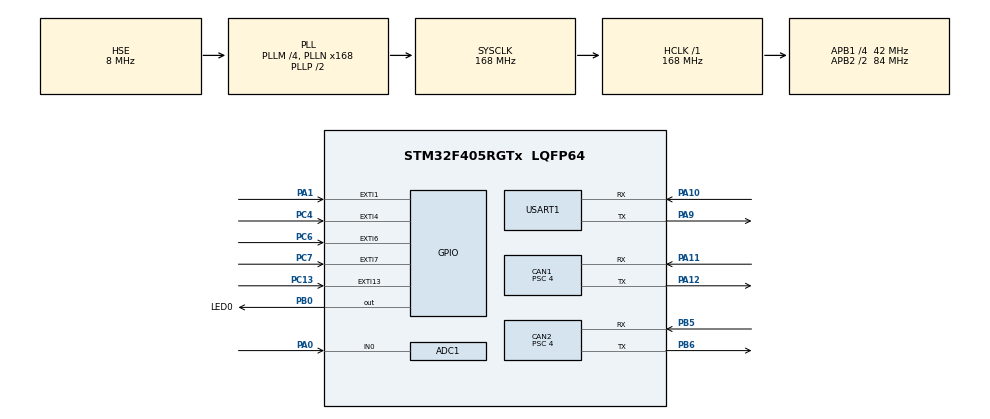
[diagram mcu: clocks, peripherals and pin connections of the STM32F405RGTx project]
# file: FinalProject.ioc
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ADC1.Channel-1\#ChannelRegularConversion=ADC_CHANNEL_0
ADC1.ContinuousConvMode=DISABLE
ADC1.NbrOfConversion=1
ADC1.NbrOfConversionFlag=1
ADC1.Rank-1\#ChannelRegularConversion=1
ADC1.SamplingTime-1\#ChannelRegularConversion=ADC_SAMPLETIME_3CYCLES
ADC1.master=1
CAN1.ABOM=ENABLE
CAN1.AWUM=ENABLE
CAN1.BS1=CAN_BS1_16TQ
CAN1.BS2=CAN_BS2_4TQ
CAN1.CalculateBaudRate=500000
CAN1.CalculateTimeBit=2000
CAN1.CalculateTimeQuantum=95.23809523809524
CAN1.Prescaler=4
CAN1.SJW=CAN_SJW_2TQ
CAN2.ABOM=ENABLE
CAN2.AWUM=ENABLE
CAN2.BS1=CAN_BS1_16TQ
CAN2.BS2=CAN_BS2_4TQ
CAN2.CalculateBaudRate=500000
CAN2.CalculateTimeBit=2000
CAN2.CalculateTimeQuantum=95.23809523809524
CAN2.Prescaler=4
Mcu.Family=STM32F4
Mcu.Name=STM32F405RGTx
Mcu.Package=LQFP64
NVIC.CAN1_RX0_IRQn=true\:3\:0\:true\:false\:true\:true\:true\:true
NVIC.CAN2_RX1_IRQn=true\:3\:0\:true\:false\:true\:true\:true\:true
NVIC.EXTI15_10_IRQn=true\:2\:0\:true\:false\:true\:true\:true\:true
NVIC.EXTI1_IRQn=true\:2\:0\:true\:false\:true\:true\:true\:true
NVIC.EXTI4_IRQn=true\:2\:0\:true\:false\:true\:true\:true\:true
NVIC.EXTI9_5_IRQn=true\:2\:0\:true\:false\:true\:true\:true\:true
NVIC.PriorityGroup=NVIC_PRIORITYGROUP_4
PA0-WKUP.Signal=ADCx_IN0
PA1.GPIO_PuPd=GPIO_PULLUP
PA1.Signal=GPXTI1
PA10.Mode=Asynchronous
PA10.Signal=USART1_RX
PA11.Mode=CAN_Activate
PA11.Signal=CAN1_RX
PA12.Mode=CAN_Activate
PA12.Signal=CAN1_TX
PA9.Mode=Asynchronous
PA9.Signal=USART1_TX
PB0.GPIO_Label=LED0
PB0.Signal=GPIO_Output
PB5.Mode=CAN_Activate
PB5.Signal=CAN2_RX
PB6.Mode=CAN_Activate
PB6.Signal=CAN2_TX
PC13-ANTI_TAMP.GPIO_ModeDefaultEXTI=GPIO_MODE_IT_FALLING
PC13-ANTI_TAMP.GPIO_PuPd=GPIO_PULLUP
PC13-ANTI_TAMP.Signal=GPXTI13
PC4.GPIO_ModeDefaultEXTI=GPIO_MODE_IT_FALLING
PC4.GPIO_PuPd=GPIO_PULLUP
PC4.Signal=GPXTI4
PC6.GPIO_PuPd=GPIO_PULLUP
PC6.Signal=GPXTI6
PC7.GPIO_ModeDefaultEXTI=GPIO_MODE_IT_FALLING
PC7.GPIO_PuPd=GPIO_PULLUP
PC7.Signal=GPXTI7
PH0-OSC_IN.Mode=HSE-External-Oscillator
PH0-OSC_IN.Signal=RCC_OSC_IN
PH1-OSC_OUT.Mode=HSE-External-Oscillator
PH1-OSC_OUT.Signal=RCC_OSC_OUT
ProjectManager.HeapSize=0x200
ProjectManager.StackSize=0x400
ProjectManager.TargetToolchain=STM32CubeIDE
RCC.48MHZClocksFreq_Value=84000000
RCC.AHBFreq_Value=168000000
RCC.APB1CLKDivider=RCC_HCLK_DIV4
RCC.APB1Freq_Value=42000000
RCC.APB1TimFreq_Value=84000000
RCC.APB2CLKDivider=RCC_HCLK_DIV2
RCC.APB2Freq_Value=84000000
RCC.APB2TimFreq_Value=168000000
RCC.CortexFreq_Value=168000000
RCC.HCLKFreq_Value=168000000
RCC.HSE_VALUE=8000000
RCC.HSI_VALUE=16000000
RCC.LSE_VALUE=32768
RCC.PLLM=4
RCC.PLLN=168
RCC.PLLSourceVirtual=RCC_PLLSOURCE_HSE
RCC.SYSCLKFreq_VALUE=168000000
RCC.SYSCLKSource=RCC_SYSCLKSOURCE_PLLCLK
RCC.VCOOutputFreq_Value=336000000
SH.ADCx_IN0.0=ADC1_IN0,IN0
USART1.VirtualMode=VM_ASYNC
board=custom

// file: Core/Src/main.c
/* USER CODE BEGIN Header */
/**
  ******************************************************************************
  * @file           : main.c
  * @brief          : Main program body
  ******************************************************************************
  * @attention
  *
  * Copyright (c) 2022 STMicroelectronics.
  * All rights reserved.
  *
  * This software is licensed under terms that can be found in the LICENSE file
  * in the root directory of this software component.
  * If no LICENSE file comes with this software, it is provided AS-IS.
  *
  ******************************************************************************
  */
/* USER CODE END Header */
#include "main.h"

/* USER CODE BEGIN Includes */
#include <stdio.h>
#include "cantp.h"
#include <stdlib.h>
#include <time.h>
/* USER CODE END Includes */

ADC_HandleTypeDef hadc1;

CAN_HandleTypeDef hcan1;
CAN_HandleTypeDef hcan2;

UART_HandleTypeDef huart1;

/* USER CODE BEGIN PV */

static CANTPCanInit Tester;
static CANTPCanInit ECU;
static CANTPMessage receiveMessage;
static CANTPMessage sendMessage;
static uint8_t isUnlocked = 0; 			// locked: 0; unlocked: 1
static uint8_t seed[4];
static uint8_t key[4];

/* USER CODE END PV */

void SystemClock_Config(void);
static void MX_GPIO_Init(void);
static void MX_USART1_UART_Init(void);
static void MX_CAN1_Init(void);
static void MX_CAN2_Init(void);
static void MX_ADC1_Init(void);
/* USER CODE BEGIN PFP */

/* Private function prototypes -----------------------------------------------*/
#ifdef __GNUC__
 /* With GCC/RAISONANCE, small printf (option LD Linker->Libraries->Small printf
 set to 'Yes') calls __io_putchar() */
 #define PUTCHAR_PROTOTYPE int __io_putchar(int ch)
#else
 #define PUTCHAR_PROTOTYPE int fputc(int ch, FILE *f)
#endif /* __GNUC__ */

/* USER CODE END PFP */

/* USER CODE BEGIN 0 */
void CANTP(CANTPMessage *canMessage, CANTPCanInit *Node);

void showResponseFrame(CANTPMessage *receiveMessage){
	int index;
	if(receiveMessage->serviceInfo.SID != 0x7F) {
		printf("Positive data: ");
		printf(" 0x%02X", receiveMessage->serviceInfo.SID);
		printf(" 0x%02X", receiveMessage->serviceInfo.SF);
		index = 2;
	}
	else {
		printf("Negative data: ");
		printf(" 0x%02X", receiveMessage->serviceInfo.SID);
		printf(" 0x%02X", receiveMessage->serviceInfo.DID[0]);
		printf(" 0x%02X", receiveMessage->serviceInfo.DID[1]);
		index = 3;
	}

    for (uint8_t i = index; i < 7; i++)
    {
    	printf(" 0x%02X", 0x55);
    }
    printf("\n");
}

void showData(uint8_t *frame){
    for (uint8_t i = 0; i < 6; i++)
        {
            printf(" 0x%02X", *(frame + i));
        }
    printf("\n");
}

void receiveSingleFrame(CANTPMessage *receiveMessage, uint8_t *CAN_RXData){
	receiveMessage->serviceInfo.SID = CAN_RXData[1];
	uint8_t index = 0;
	if(CAN_RXData[1] == 0x27 || CAN_RXData[1] == 0x67 ){
		receiveMessage->serviceInfo.SF = CAN_RXData[2];
		index = 3;
	}
	else {
		receiveMessage->serviceInfo.DID[0] = CAN_RXData[2];
		receiveMessage->serviceInfo.DID[1] = CAN_RXData[3];
		index = 4;
	}

	receiveMessage->dataLength = 0;
    for (uint8_t i = index; i <= 7; i++)
    {
        if(CAN_RXData[i] != 0x55){
        	receiveMessage->dataLength += 1;
        }
        else{
        	break;
        }
    }
    receiveMessage->data = (uint8_t*)malloc(receiveMessage->dataLength);
    memcpy(receiveMessage->data, &CAN_RXData[index],  receiveMessage->dataLength);
}

void receiveFirstFrame( CANTPMessage *receiveMessage, uint8_t *CANDataRX){
    uint16_t dataLength = (CANDataRX[0] & 0x0F);
    receiveMessage->dataLength = dataLength << 8 | CANDataRX[1];
    receiveMessage->serviceInfo.SID = CANDataRX[2];
    receiveMessage->serviceInfo.DID[0] = CANDataRX[3];
    receiveMessage->serviceInfo.DID[1] = CANDataRX[4];
    receiveMessage->bufferLength = 3;
    receiveMessage->offset = 3;
    receiveMessage->data = (uint8_t*)malloc(receiveMessage->dataLength);
    memcpy(receiveMessage->data, &CANDataRX[5], 3);
}

void receiveConsecutiveFrame(CANTPMessage *receiveMessage, uint8_t *CANDataRX){
    for (uint8_t i = 1; i <= 7; i++)
    {
        if(CANDataRX[i] != 0x55){
        	receiveMessage->data[receiveMessage->bufferLength] = CANDataRX[i];
        	receiveMessage->bufferLength += 1;
        }
    }
}

void sendSingleFrame(CANTPMessage *sendMessage, CANTPCanInit *can){
	CANTPSingleFrame singleFrame;
    CANTPControlInformation PCI_SINGLE = PCI_SINGLE_FRAME;
    uint8_t NAValue[7] = {0x55, 0x55, 0x55, 0x55, 0x55, 0x55, 0x55};
    singleFrame.indicate = PCI_SINGLE << 4 | sendMessage->bufferLength;
    uint8_t payloadOffset = 0;
    if (sendMessage->serviceInfo.SF != 0x00){
    	singleFrame.payload[0] = sendMessage->serviceInfo.SID;
    	singleFrame.payload[1] = sendMessage->serviceInfo.SF;
    	payloadOffset = 2;
    }
    else {
	singleFrame.payload[0] = sendMessage->serviceInfo.SID;
	singleFrame.payload[1] = sendMessage->serviceInfo.DID[0];
	singleFrame.payload[2] = sendMessage->serviceInfo.DID[1];
	payloadOffset = 3;

    if(sendMessage->dataLength != 0){
    		memcpy(&singleFrame.payload[payloadOffset],&sendMessage->data, sendMessage->dataLength);
    		payloadOffset += sendMessage->dataLength;
		}
    }
    memcpy(&singleFrame.payload[payloadOffset],&NAValue, 7 - payloadOffset);
    memcpy(can->TxData, &singleFrame, sizeof(singleFrame));
	HAL_CAN_AddTxMessage(&(can->hcan), &(can->TxHeader), can->TxData, &(can->TxMailbox));
}

void sendFirstFrame(CANTPMessage *sendMessage, CANTPCanInit *can){
    CANTPFirstFrame firstFrame;
    CANTPControlInformation PCI_FIRST = PCI_FIRST_FRAME;

    firstFrame.indicate = PCI_FIRST | (sendMessage->bufferLength >> 8);
    firstFrame.dataLength = sendMessage->bufferLength;
    firstFrame.SID = sendMessage->serviceInfo.SID;
    memcpy(&firstFrame.DID, &sendMessage->serviceInfo.DID, 2);
    memcpy(&firstFrame.payload, sendMessage->data, 3);
    sendMessage->offset = 3;
    memcpy(can->TxData, &firstFrame, sizeof(firstFrame));
    HAL_CAN_AddTxMessage(&(can->hcan), &(can->TxHeader), can->TxData, &(can->TxMailbox));
}

void sendConsecutiveFrame(CANTPMessage *sendMessage, CANTPCanInit *can){
    CANTPConsecutiveFrame consecutiveFrame;
    CANTPControlInformation PCI_CONSECUTIVE = PCI_CONSECUTIVE_FRAME;
    uint8_t numFrame = (sendMessage->bufferLength + 1)/7 + (((sendMessage->bufferLength + 1)%7 == 0) ? 0:1);
    uint8_t sequenceNumber = 0x01;
    uint8_t *dataTemp = sendMessage->data;

    for (uint8_t i = 0; i < numFrame - 1; i++)
    {

        if(sequenceNumber == 0x0F) sequenceNumber = 0x00;
        consecutiveFrame.indicate = PCI_CONSECUTIVE | sequenceNumber;
        sequenceNumber += 0x01;

        for (uint8_t j = 0; j < 7; j++)
        {
            consecutiveFrame.payload[j] = dataTemp[sendMessage->offset];
            if(sendMessage->offset >= sendMessage->dataLength){
                consecutiveFrame.payload[j] = 0x55;
            }
            sendMessage->offset += 0x01;
        }

        memcpy(&(can->TxData), &consecutiveFrame, sizeof(consecutiveFrame));
        HAL_CAN_AddTxMessage(&(can->hcan), &(can->TxHeader), can->TxData, &(can->TxMailbox));
    }
}

void sendFlowControlFrame(CANTPFlowStatus FLOW_STATUS, uint8_t BLOCK_SIZE, uint8_t STIME, CANTPCanInit *can){
    CANTPFlowControlFrame flowControlFrame;
    CANTPControlInformation PCI_FLOW_CONTROL = PCI_FLOW_CONTROL_FRAME;

    flowControlFrame.indicate = PCI_FLOW_CONTROL | FLOW_STATUS;
    flowControlFrame.blockSize = 0x00;
    flowControlFrame.separationTime = 0x00;
    uint8_t NAValue[] = {0x55, 0x55, 0x55, 0x55, 0x55};

    memcpy(&flowControlFrame.NA, &NAValue, sizeof(NAValue));
    memcpy(can->TxData, &flowControlFrame, sizeof(flowControlFrame));
    HAL_CAN_AddTxMessage(&(can->hcan), &(can->TxHeader), can->TxData, &(can->TxMailbox));

}

void sendresponseFrame(CANTPService *ServiceInformation, CANTPCanInit *can){
	CANTPSingleFrame singleFrame;
	singleFrame.indicate = 0x07;
	singleFrame.payload[0] = ServiceInformation->SID;
	singleFrame.payload[1] = ServiceInformation->DID[0]; // MSB DID
	singleFrame.payload[2] = ServiceInformation->DID[1]; //LSB DID
	singleFrame.payload[3] = 0x55;
	singleFrame.payload[4] = 0x55;
	singleFrame.payload[5] = 0x55;
	singleFrame.payload[6] = 0x55;

    memcpy(&(can->TxData), &singleFrame, sizeof(singleFrame));
    HAL_CAN_AddTxMessage(&(can->hcan), &(can->TxHeader), can->TxData, &(can->TxMailbox));
}

void responseSeedRequest(CANTPService *ServiceInformation, CANTPCanInit *can){
	uint8_t minNumber = 0x00;
	uint8_t maxNumber = 0xFF;
	srand((int)time(0));

	seed[0] = minNumber + rand() % (maxNumber + 1 - minNumber);
	seed[1] = minNumber + rand() % (maxNumber + 1 - minNumber);
	seed[2] = minNumber + rand() % (maxNumber + 1 - minNumber);
	seed[3] = minNumber + rand() % (maxNumber + 1 - minNumber);

	CANTPSingleFrame singleFrame;
	singleFrame.indicate = 0x07;
	singleFrame.payload[0] = ServiceInformation->SID;
	singleFrame.payload[1] = ServiceInformation->SF;
	singleFrame.payload[2] = seed[0];
	singleFrame.payload[3] = seed[1];
	singleFrame.payload[4] = seed[2];
	singleFrame.payload[5] = seed[3];

	singleFrame.payload[6] = 0x55;
    memcpy(&(can->TxData), &singleFrame, sizeof(singleFrame));
    HAL_CAN_AddTxMessage(&(can->hcan), &(can->TxHeader), can->TxData, &(can->TxMailbox));
}

void sendKey(CANTPMessage *receiveMessage, CANTPCanInit *can){
	CANTPSingleFrame singleFrame;
	singleFrame.indicate = 0x07;
	singleFrame.payload[0] = receiveMessage->serviceInfo.SID - 0x40;
	singleFrame.payload[1] = receiveMessage->serviceInfo.SF + 0x01;
	singleFrame.payload[2] = receiveMessage->data[0] + 0x02;
	singleFrame.payload[3] = receiveMessage->data[1] + 0x01;
	singleFrame.payload[4] = receiveMessage->data[2] + 0x01;
	singleFrame.payload[5] = receiveMessage->data[3] + 0x01;
	singleFrame.payload[6] = 0x55;

    memcpy(&(can->TxData), &singleFrame, sizeof(singleFrame));
    HAL_CAN_AddTxMessage(&(can->hcan), &(can->TxHeader), can->TxData, &(can->TxMailbox));
}

void responseKey(CANTPMessage *receiveMessage, CANTPCanInit *can){
	CANTPSingleFrame singleFrame;
	singleFrame.indicate = 0x07;
	key[0] = seed[0] + 0x01;
	key[1] = seed[1] + 0x01;
	key[2] = seed[2] + 0x01;
	key[3] = seed[3] + 0x01;

	if (key[0] == receiveMessage->data[0] && key[1] == receiveMessage->data[1]
		&& key[2] == receiveMessage->data[2] && key[3] == receiveMessage->data[3]) {
		singleFrame.payload[0] = receiveMessage->serviceInfo.SID;
		singleFrame.payload[1] = receiveMessage->serviceInfo.SF;
		singleFrame.payload[2] = 0x55;
		singleFrame.payload[3] = 0x55;
		singleFrame.payload[4] = 0x55;
		singleFrame.payload[5] = 0x55;
		singleFrame.payload[6] = 0x55;

		isUnlocked = 1;
		HAL_GPIO_WritePin(GPIOB, LED0_Pin, isUnlocked);
		memcpy(&(can->TxData), &singleFrame, sizeof(singleFrame));
		HAL_CAN_AddTxMessage(&(can->hcan), &(can->TxHeader), can->TxData, &(can->TxMailbox));
	}
	else {
		receiveMessage->serviceInfo.SID -= 0x40;
		sendNegativeResponse(receiveMessage, can, 0x35);
		printf("---> Invalid key - Delay 10s\n");

		HAL_CAN_Stop(&hcan1);					// stop CAN and delay in 10s
		HAL_Delay(10000);
		HAL_CAN_Start(&hcan1);
		printf("Continue receiving service request\n");

	}
}

void sendNegativeResponse(CANTPMessage *receiveMessage, CANTPCanInit *can, uint8_t NRC){
	CANTPSingleFrame singleFrame;
	singleFrame.indicate = 0x07;
	singleFrame.payload[0] = 0x7F;
	singleFrame.payload[1] = receiveMessage->serviceInfo.SID;
	singleFrame.payload[2] = NRC;			// invalid key negative response code
	singleFrame.payload[3] = 0x55;
	singleFrame.payload[4] = 0x55;
	singleFrame.payload[5] = 0x55;
	singleFrame.payload[6] = 0x55;

	memcpy(&(can->TxData), &singleFrame, sizeof(singleFrame));
	HAL_CAN_AddTxMessage(&(can->hcan), &(can->TxHeader), can->TxData, &(can->TxMailbox));
}

// Handle Single Frame in CallbackFunction
void HAL_CAN_RxFifo0MsgPendingCallback(CAN_HandleTypeDef *hcan)
{
	HAL_CAN_GetRxMessage(hcan, CAN_RX_FIFO0, &ECU.RxHeader, ECU.RxData);
	uint8_t frameType = ECU.RxData[0] >> 4;

	if (ECU.RxHeader.DLC == 8)
	{
		if (ECU.RxData[1] == 0x27 && frameType == 0x0){
			receiveSingleFrame(&receiveMessage, ECU.RxData);
			receiveMessage.serviceInfo.SID += 0x40;

			if(receiveMessage.serviceInfo.SF == 0x01){
				responseSeedRequest(&receiveMessage.serviceInfo, &ECU);
			}
			else if (receiveMessage.serviceInfo.SF == 0x02)
			{
				responseKey(&receiveMessage, &ECU);
			}
		}
		else {
			if (!isUnlocked) {
				if(frameType == 0x00)
					receiveSingleFrame(&receiveMessage, ECU.RxData);
				else
					receiveFirstFrame(&receiveMessage, ECU.RxData);

				sendNegativeResponse(&receiveMessage, &ECU, 0x33);
				printf("*** ECU locked ***\n");
				return;
			}

			switch(frameType){
				case 0x0:
				{
					if(ECU.RxData[1] == 0x22){
						HAL_ADC_Start(&hadc1);
						CANTPMessage message;
						uint16_t ADC_val = HAL_ADC_GetValue(&hadc1);
						uint8_t ADCValue8b[] = {ADC_val >> 8, ADC_val};
						message.serviceInfo.SID = ECU.RxData[1] + 0x40;
						message.serviceInfo.DID[0] = ECU.RxData[2];
						message.serviceInfo.DID[1] = ECU.RxData[3];
						message.serviceInfo.SF = 0x00;
						message.dataLength = sizeof(ADC_val);

						memcpy(&message.data, &ADCValue8b, sizeof(ADCValue8b));
						printf("Send ADC Value 0x%X\n", ADC_val);
						message.bufferLength = sizeof(message.serviceInfo) - 1 + message.dataLength;
						CANTP(&message, &ECU);

					}
					else if (ECU.RxData[1] == 0x2E){
						receiveSingleFrame(&receiveMessage, ECU.RxData);
						receiveMessage.serviceInfo.SID += 0x40;
						sendresponseFrame(&receiveMessage.serviceInfo, &ECU);
					}
				break;
				}
				case 0x1:
				{
					if(ECU.RxData[2] == 0x2E){
						receiveFirstFrame(&receiveMessage, ECU.RxData);
						sendFlowControlFrame(PCI_FLOW_STATUS_CONTINUE, BLOCK_SIZE, SEPARATION_TIME, &ECU);
					}
					else{
						printf("Wrong Frame!\n");
					}
					break;
				}
				case 0x2:
				{

					receiveConsecutiveFrame(&receiveMessage, ECU.RxData);
					printf("Get data at ECU: ");
					showData(receiveMessage.data);
					receiveMessage.serviceInfo.SID += 0x40;
					sendresponseFrame(&receiveMessage.serviceInfo, &ECU);
					break;
				}
				case 0x3:{
					break;
				}
				default:
					break;
				}
		}

	}
}

void HAL_CAN_RxFifo1MsgPendingCallback(CAN_HandleTypeDef *hcan)
{

	HAL_CAN_GetRxMessage(hcan, CAN_RX_FIFO1, &Tester.RxHeader, Tester.RxData);
	if (Tester.RxHeader.DLC == 8)
	{
		uint8_t frameType = Tester.RxData[0] >> 4;
		switch(frameType){
			case 0x0:{
				switch (Tester.RxData[1])
				{
					case 0x62:	// Response for Read Data by Identifier
					{
						CANTPMessage receiveMessage;
						receiveSingleFrame(&receiveMessage, Tester.RxData);
						uint16_t ADC_rx = (receiveMessage.data[0] << 8) + receiveMessage.data[1];
						printf("Get ADC from ECU: 0x%02X\n", ADC_rx);
						printf("End session!\n");
						break;
					}
					case 0x6E: // Response for Write Data by Identifier
					{
						printf("End session!\n");
						break;
					}
					case 0x67: // Response for Write Data by Identifier
					{
						CANTPMessage receiveMessage;
						receiveSingleFrame(&receiveMessage, Tester.RxData);
						if(receiveMessage.serviceInfo.SF == 0x01){
							sendKey(&receiveMessage, &Tester);
						}
						else
						{
							printf("*** ECU unlocked *** \n");
						}
						showResponseFrame(&receiveMessage);
						break;
					}
					case 0x7F:
					{
						CANTPMessage receiveMessage;
						receiveSingleFrame(&receiveMessage, Tester.RxData);
						showResponseFrame(&receiveMessage);
						break;
					}
				}
				break;
			}
		case 0x3:
		{
			sendConsecutiveFrame(&sendMessage, &Tester);
			break;
		}

		default:
			break;
		}
	}
}

void CANTP(CANTPMessage *sendMessage, CANTPCanInit *Node){

    uint8_t paddingNumber;
    if(sendMessage->bufferLength <= 7){
        paddingNumber = 7 - (sendMessage->bufferLength % 7);
        sendMessage->bufferLength += paddingNumber;
	}
	else{
        paddingNumber = 7 - (sendMessage->bufferLength % 7) - 1;
        sendMessage->bufferLength += paddingNumber;
	}

	if(sendMessage->bufferLength > 7){
		sendFirstFrame(sendMessage, Node);
	}
	else{
		sendSingleFrame(sendMessage, Node);
	}
}

void writeDataByIdentifier(uint8_t *Data, uint8_t dataLength, uint8_t MSB_DID, uint8_t LSB_DID)
{
	printf("-------------Service $2E---------------\n");
	printf("Write data from Tester: ");
	showData(Data);
	sendMessage.serviceInfo.SID = 0x2E;
	sendMessage.serviceInfo.DID[0] = MSB_DID;
	sendMessage.serviceInfo.DID[1] = LSB_DID;
	sendMessage.dataLength = dataLength;
	sendMessage.bufferLength = sizeof(sendMessage.serviceInfo) + sendMessage.dataLength - 1;
	sendMessage.data = (uint8_t*)malloc(dataLength);
  	memcpy(sendMessage.data, Data, dataLength);
  	CANTP(&sendMessage, &Tester);

}

void readDataByIdentifier(uint8_t MSB_DID, uint8_t LSB_DID)
{
	printf("-------------Service $22---------------\n");
	CANTPMessage sendMessage;
	sendMessage.serviceInfo.SID = 0x22;
	sendMessage.serviceInfo.DID[0] = MSB_DID;
	sendMessage.serviceInfo.DID[1] = LSB_DID;
	sendMessage.serviceInfo.SF = 0x00;

	sendMessage.dataLength = 0;
	sendMessage.bufferLength = sizeof(sendMessage.serviceInfo) + sendMessage.dataLength - 1;
  	CANTP(&sendMessage, &Tester);
}

void sendSeedRequest(uint8_t SubFunction)
{
	printf("-------------Service $27---------------\n");

	sendMessage.serviceInfo.SID = 0x27;
	sendMessage.serviceInfo.SF = SubFunction;

	sendMessage.dataLength = 0;
	sendMessage.bufferLength = sizeof(sendMessage.serviceInfo) + sendMessage.dataLength - 2;
  	CANTP(&sendMessage, &Tester);
}

void HAL_GPIO_EXTI_Callback(uint16_t GPIO_Pin)
{
	if (GPIO_Pin == GPIO_PIN_4) { 		// Joystick at Left position
		uint8_t Data[] = {0xAA, 0xAA, 0xAA, 0xAA, 0xAA, 0xAA};
		uint8_t dataLength = sizeof(Data);
		writeDataByIdentifier(Data, dataLength, 0xF0, 0x02);

	}
	else if (GPIO_Pin == GPIO_PIN_7) {	// Right
		uint8_t Data[] = {0xFF, 0xFF, 0xFF, 0xFF, 0xFF, 0xFF};
		uint8_t dataLength = sizeof(Data);
		writeDataByIdentifier(Data, dataLength, 0xF0, 0x02);

	}
	else if (GPIO_Pin == GPIO_PIN_13) {	// Middle
		uint8_t Data[] = {0x00, 0x00, 0x00, 0x00, 0x00, 0x00};
		uint8_t dataLength = sizeof(Data);
		writeDataByIdentifier(Data, dataLength, 0xF0, 0x02);
	}
	else if (GPIO_Pin == GPIO_PIN_1) {	// User button
			sendSeedRequest(0x01);
	}
	else if (GPIO_Pin == GPIO_PIN_6) {	// Down
		readDataByIdentifier(0xF0, 0x00);
	}
}

/* USER CODE END 0 */

int main(void)
{

  /* MCU Configuration--------------------------------------------------------*/

  /* Reset of all peripherals, Initializes the Flash interface and the Systick. */
  HAL_Init();

  /* Configure the system clock */
  SystemClock_Config();

  /* Initialize all configured peripherals */
  MX_GPIO_Init();
  MX_USART1_UART_Init();
  MX_CAN1_Init();
  MX_CAN2_Init();
  MX_ADC1_Init();
  /* USER CODE BEGIN 2 */
  HAL_CAN_Start(&hcan1);
  HAL_CAN_Start(&hcan2);

  HAL_CAN_ActivateNotification(&hcan1, CAN_IT_RX_FIFO0_MSG_PENDING);
  HAL_CAN_ActivateNotification(&hcan2, CAN_IT_RX_FIFO1_MSG_PENDING);

  // Response from ECU
  ECU.hcan = hcan1;
  ECU.TxHeader.DLC = 8;
  ECU.TxHeader.IDE = CAN_ID_STD;
  ECU.TxHeader.RTR = CAN_RTR_DATA;
  ECU.TxHeader.StdId = 0x7A2;

  // Request from Tester
  Tester.hcan = hcan2;
  Tester.TxHeader.DLC = 8;
  Tester.TxHeader.IDE = CAN_ID_STD;
  Tester.TxHeader.RTR = CAN_RTR_DATA;
  Tester.TxHeader.StdId = 0x712;

  /* USER CODE END 2 */

  /* Infinite loop */
  while (1)
  {

  }
}

void SystemClock_Config(void)
{
  RCC_OscInitTypeDef RCC_OscInitStruct = {0};
  RCC_ClkInitTypeDef RCC_ClkInitStruct = {0};

  /** Configure the main internal regulator output voltage
  */
  __HAL_RCC_PWR_CLK_ENABLE();
  __HAL_PWR_VOLTAGESCALING_CONFIG(PWR_REGULATOR_VOLTAGE_SCALE1);

  /** Initializes the RCC Oscillators according to the specified parameters
  * in the RCC_OscInitTypeDef structure.
  */
  RCC_OscInitStruct.OscillatorType = RCC_OSCILLATORTYPE_HSE;
  RCC_OscInitStruct.HSEState = RCC_HSE_ON;
  RCC_OscInitStruct.PLL.PLLState = RCC_PLL_ON;
  RCC_OscInitStruct.PLL.PLLSource = RCC_PLLSOURCE_HSE;
  RCC_OscInitStruct.PLL.PLLM = 4;
  RCC_OscInitStruct.PLL.PLLN = 168;
  RCC_OscInitStruct.PLL.PLLP = RCC_PLLP_DIV2;
  RCC_OscInitStruct.PLL.PLLQ = 4;
  if (HAL_RCC_OscConfig(&RCC_OscInitStruct) != HAL_OK)
  {
    Error_Handler();
  }

  /** Initializes the CPU, AHB and APB buses clocks
  */
  RCC_ClkInitStruct.ClockType = RCC_CLOCKTYPE_HCLK|RCC_CLOCKTYPE_SYSCLK
                              |RCC_CLOCKTYPE_PCLK1|RCC_CLOCKTYPE_PCLK2;
  RCC_ClkInitStruct.SYSCLKSource = RCC_SYSCLKSOURCE_PLLCLK;
  RCC_ClkInitStruct.AHBCLKDivider = RCC_SYSCLK_DIV1;
  RCC_ClkInitStruct.APB1CLKDivider = RCC_HCLK_DIV4;
  RCC_ClkInitStruct.APB2CLKDivider = RCC_HCLK_DIV2;

  if (HAL_RCC_ClockConfig(&RCC_ClkInitStruct, FLASH_LATENCY_5) != HAL_OK)
  {
    Error_Handler();
  }
}

static void MX_ADC1_Init(void)
{

  ADC_ChannelConfTypeDef sConfig = {0};

  /** Configure the global features of the ADC (Clock, Resolution, Data Alignment and number of conversion)
  */
  hadc1.Instance = ADC1;
  hadc1.Init.ClockPrescaler = ADC_CLOCK_SYNC_PCLK_DIV4;
  hadc1.Init.Resolution = ADC_RESOLUTION_12B;
  hadc1.Init.ScanConvMode = DISABLE;
  hadc1.Init.ContinuousConvMode = DISABLE;
  hadc1.Init.DiscontinuousConvMode = DISABLE;
  hadc1.Init.ExternalTrigConvEdge = ADC_EXTERNALTRIGCONVEDGE_NONE;
  hadc1.Init.ExternalTrigConv = ADC_SOFTWARE_START;
  hadc1.Init.DataAlign = ADC_DATAALIGN_RIGHT;
  hadc1.Init.NbrOfConversion = 1;
  hadc1.Init.DMAContinuousRequests = DISABLE;
  hadc1.Init.EOCSelection = ADC_EOC_SINGLE_CONV;
  if (HAL_ADC_Init(&hadc1) != HAL_OK)
  {
    Error_Handler();
  }

  /** Configure for the selected ADC regular channel its corresponding rank in the sequencer and its sample time.
  */
  sConfig.Channel = ADC_CHANNEL_0;
  sConfig.Rank = 1;
  sConfig.SamplingTime = ADC_SAMPLETIME_3CYCLES;
  if (HAL_ADC_ConfigChannel(&hadc1, &sConfig) != HAL_OK)
  {
    Error_Handler();
  }

}

static void MX_CAN1_Init(void)
{

  hcan1.Instance = CAN1;
  hcan1.Init.Prescaler = 4;
  hcan1.Init.Mode = CAN_MODE_NORMAL;
  hcan1.Init.SyncJumpWidth = CAN_SJW_2TQ;
  hcan1.Init.TimeSeg1 = CAN_BS1_16TQ;
  hcan1.Init.TimeSeg2 = CAN_BS2_4TQ;
  hcan1.Init.TimeTriggeredMode = DISABLE;
  hcan1.Init.AutoBusOff = ENABLE;
  hcan1.Init.AutoWakeUp = ENABLE;
  hcan1.Init.AutoRetransmission = DISABLE;
  hcan1.Init.ReceiveFifoLocked = DISABLE;
  hcan1.Init.TransmitFifoPriority = DISABLE;
  if (HAL_CAN_Init(&hcan1) != HAL_OK)
  {
    Error_Handler();
  }
  /* USER CODE BEGIN CAN1_Init 2 */

  CAN_FilterTypeDef canfilterconfig;

  canfilterconfig.FilterActivation = CAN_FILTER_ENABLE;
  canfilterconfig.FilterBank = 18;  // which filter bank to use from the assigned ones
  canfilterconfig.FilterFIFOAssignment = CAN_FILTER_FIFO0;
  canfilterconfig.FilterIdHigh = 0x712<<5;
  canfilterconfig.FilterIdLow = 0;
  canfilterconfig.FilterMaskIdHigh = 0x712<<5;
  canfilterconfig.FilterMaskIdLow = 0x0000;
  canfilterconfig.FilterMode = CAN_FILTERMODE_IDMASK;
  canfilterconfig.FilterScale = CAN_FILTERSCALE_32BIT;
  canfilterconfig.SlaveStartFilterBank = 20;  // how many filters to assign to the CAN1 (master can)

  HAL_CAN_ConfigFilter(&hcan1, &canfilterconfig);

  /* USER CODE END CAN1_Init 2 */

}

static void MX_CAN2_Init(void)
{

  hcan2.Instance = CAN2;
  hcan2.Init.Prescaler = 4;
  hcan2.Init.Mode = CAN_MODE_NORMAL;
  hcan2.Init.SyncJumpWidth = CAN_SJW_1TQ;
  hcan2.Init.TimeSeg1 = CAN_BS1_16TQ;
  hcan2.Init.TimeSeg2 = CAN_BS2_4TQ;
  hcan2.Init.TimeTriggeredMode = DISABLE;
  hcan2.Init.AutoBusOff = ENABLE;
  hcan2.Init.AutoWakeUp = ENABLE;
  hcan2.Init.AutoRetransmission = DISABLE;
  hcan2.Init.ReceiveFifoLocked = DISABLE;
  hcan2.Init.TransmitFifoPriority = DISABLE;
  if (HAL_CAN_Init(&hcan2) != HAL_OK)
  {
    Error_Handler();
  }
  /* USER CODE BEGIN CAN2_Init 2 */

  CAN_FilterTypeDef canfilterconfig;

  canfilterconfig.FilterActivation = CAN_FILTER_ENABLE;
  canfilterconfig.FilterBank = 19;//10;  // which filter bank to use from the assigned ones
  canfilterconfig.FilterFIFOAssignment = CAN_FILTER_FIFO1;
  canfilterconfig.FilterIdHigh = 0x7A2<<5;
  canfilterconfig.FilterIdLow = 0;
  canfilterconfig.FilterMaskIdHigh = 0x7A2<<5;
  canfilterconfig.FilterMaskIdLow = 0x0000;
  canfilterconfig.FilterMode = CAN_FILTERMODE_IDMASK;
  canfilterconfig.FilterScale = CAN_FILTERSCALE_32BIT;
  canfilterconfig.SlaveStartFilterBank = 0;  // doesn't matter in single can controllers

  HAL_CAN_ConfigFilter(&hcan2, &canfilterconfig);

  /* USER CODE END CAN2_Init 2 */

}

static void MX_USART1_UART_Init(void)
{

  huart1.Instance = USART1;
  huart1.Init.BaudRate = 115200;
  huart1.Init.WordLength = UART_WORDLENGTH_8B;
  huart1.Init.StopBits = UART_STOPBITS_1;
  huart1.Init.Parity = UART_PARITY_NONE;
  huart1.Init.Mode = UART_MODE_TX_RX;
  huart1.Init.HwFlowCtl = UART_HWCONTROL_NONE;
  huart1.Init.OverSampling = UART_OVERSAMPLING_16;
  if (HAL_UART_Init(&huart1) != HAL_OK)
  {
    Error_Handler();
  }

}

static void MX_GPIO_Init(void)
{
  GPIO_InitTypeDef GPIO_InitStruct = {0};

  /* GPIO Ports Clock Enable */
  __HAL_RCC_GPIOC_CLK_ENABLE();
  __HAL_RCC_GPIOH_CLK_ENABLE();
  __HAL_RCC_GPIOA_CLK_ENABLE();
  __HAL_RCC_GPIOB_CLK_ENABLE();

  /*Configure GPIO pin Output Level */
  HAL_GPIO_WritePin(LED0_GPIO_Port, LED0_Pin, GPIO_PIN_RESET);

  /*Configure GPIO pins : PC13 PC4 PC7 */
  GPIO_InitStruct.Pin = GPIO_PIN_13|GPIO_PIN_4|GPIO_PIN_7;
  GPIO_InitStruct.Mode = GPIO_MODE_IT_FALLING;
  GPIO_InitStruct.Pull = GPIO_PULLUP;
  HAL_GPIO_Init(GPIOC, &GPIO_InitStruct);

  /*Configure GPIO pin : PA1 */
  GPIO_InitStruct.Pin = GPIO_PIN_1;
  GPIO_InitStruct.Mode = GPIO_MODE_IT_RISING;
  GPIO_InitStruct.Pull = GPIO_PULLUP;
  HAL_GPIO_Init(GPIOA, &GPIO_InitStruct);

  /*Configure GPIO pin : LED0_Pin */
  GPIO_InitStruct.Pin = LED0_Pin;
  GPIO_InitStruct.Mode = GPIO_MODE_OUTPUT_PP;
  GPIO_InitStruct.Pull = GPIO_NOPULL;
  GPIO_InitStruct.Speed = GPIO_SPEED_FREQ_LOW;
  HAL_GPIO_Init(LED0_GPIO_Port, &GPIO_InitStruct);

  /*Configure GPIO pin : PC6 */
  GPIO_InitStruct.Pin = GPIO_PIN_6;
  GPIO_InitStruct.Mode = GPIO_MODE_IT_RISING;
  GPIO_InitStruct.Pull = GPIO_PULLUP;
  HAL_GPIO_Init(GPIOC, &GPIO_InitStruct);

  /* EXTI interrupt init*/
  HAL_NVIC_SetPriority(EXTI1_IRQn, 2, 0);
  HAL_NVIC_EnableIRQ(EXTI1_IRQn);

  HAL_NVIC_SetPriority(EXTI4_IRQn, 2, 0);
  HAL_NVIC_EnableIRQ(EXTI4_IRQn);

  HAL_NVIC_SetPriority(EXTI9_5_IRQn, 2, 0);
  HAL_NVIC_EnableIRQ(EXTI9_5_IRQn);

  HAL_NVIC_SetPriority(EXTI15_10_IRQn, 2, 0);
  HAL_NVIC_EnableIRQ(EXTI15_10_IRQn);

}

/* USER CODE BEGIN 4 */

/**
 * @brief Retargets the C library printf function to the USART.
 * @param None
 * @retval None
 */
PUTCHAR_PROTOTYPE
{
 /* Place your implementation of fputc here */
 /* e.g. write a character to the USART */
 HAL_UART_Transmit(&huart1, (uint8_t *)&ch, 1, 100);

 return ch;
}

/* USER CODE END 4 */

void Error_Handler(void)
{
  __disable_irq();
  while (1)
  {
  }
}
